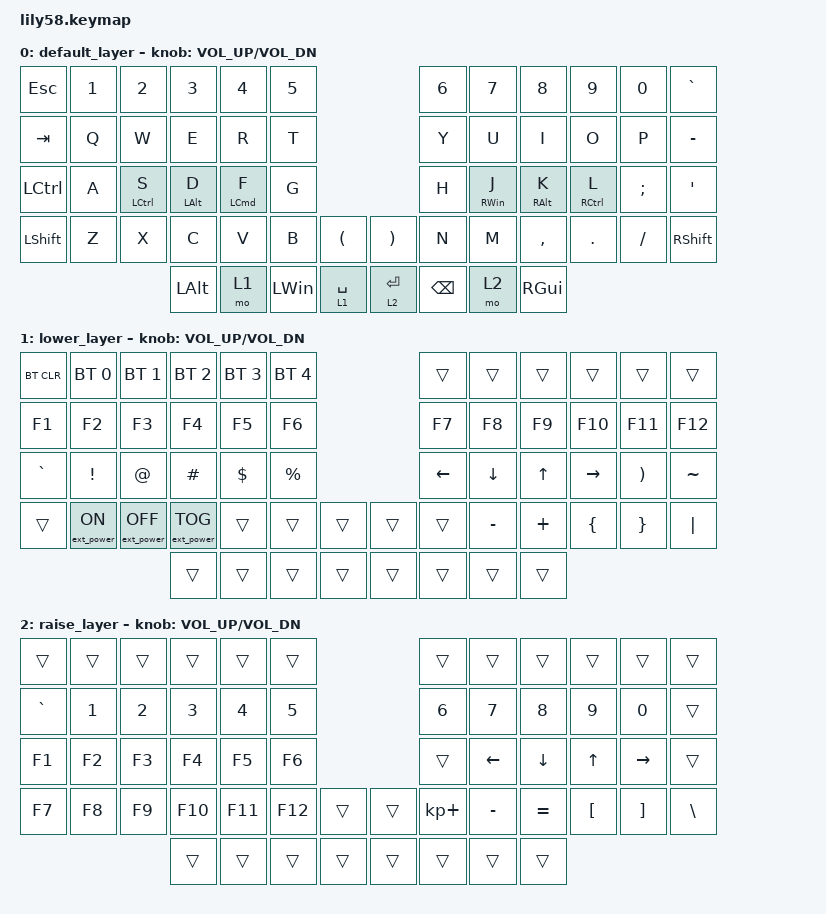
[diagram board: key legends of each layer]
/*
 * Copyright (c) 2020 The ZMK Contributors
 *
 * SPDX-License-Identifier: MIT
 */

#include <behaviors.dtsi>
#include <dt-bindings/zmk/bt.h>
#include <dt-bindings/zmk/ext_power.h>
#include <dt-bindings/zmk/keys.h>

/ {
    macros {
        change_layer: change_layer {
            compatible = "zmk,behavior-macro";
            #binding-cells = <0>;
            bindings = <&none>;
            label = "CHANGE_LAYER";
        };
    };

    keymap {
        compatible = "zmk,keymap";

        default_layer {
            // ------------------------------------------------------------------------------------------------------------
            // |  ESC  |  1  |  2  |  3   |  4   |  5   |                   |  6   |  7    |  8    |  9   |   0   |   `   |
            // |  TAB  |  Q  |  W  |  E   |  R   |  T   |                   |  Y   |  U    |  I    |  O   |   P   |   -   |
            // |  CTRL |  A  |  S  |  D   |  F   |  G   |                   |  H   |  J    |  K    |  L   |   ;   |   '   |
            // | SHIFT |  Z  |  X  |  C   |  V   |  B   |   "["  |  |  "]"  |  N   |  M    |  ,    |  .   |   /   | SHIFT |
            //                     | ALT  | GUI  | LOWER|  SPACE |  | ENTER | RAISE| BSPC  | GUI   |

            bindings = <
&kp ESC    &kp N1  &kp N2              &kp N3          &kp N4              &kp N5                                                       &kp N6         &kp N7           &kp N8           &kp N9               &kp N0    &kp GRAVE
&kp TAB    &kp Q   &kp W               &kp E           &kp R               &kp T                                                        &kp Y          &kp U            &kp I            &kp O                &kp P     &kp MINUS
&kp LCTRL  &kp A   &mt LEFT_CONTROL S  &mt LEFT_ALT D  &mt LEFT_COMMAND F  &kp G                                                        &kp H          &mt RIGHT_WIN J  &mt RIGHT_ALT K  &mt RIGHT_CONTROL L  &kp SEMI  &kp SQT
&kp LSHFT  &kp Z   &kp X               &kp C           &kp V               &kp B         &kp LEFT_PARENTHESIS    &kp RIGHT_PARENTHESIS  &kp N          &kp M            &kp COMMA        &kp DOT              &kp FSLH  &kp RSHFT
                                       &kp LALT        &mo 1               &kp LEFT_WIN  &lt 1 SPACE             &lt 2 ENTER            &kp BACKSPACE  &mo 2            &kp RGUI
            >;

            sensor-bindings = <&inc_dec_kp C_VOL_UP C_VOL_DN>;
        };

        lower_layer {
            // ------------------------------------------------------------------------------------------------------------
            // | BTCLR | BT1 | BT2 |  BT3 |  BT4 |  BT5 |                   |      |       |       |      |       |       |
            // |  F1   |  F2 |  F3 |  F4  |  F5  |  F6  |                   |  F7  |  F8   |  F9   |  F10 |  F11  |  F12  |
            // |   `   |  !  |  @  |  #   |  $   |  %   |                   |  ^   |  &    |  *    |  (   |   )   |   ~   |
            // |       |     |     |      |      |      |        |  |       |      |  _    |  +    |  {   |   }   |  "|"  |
            //                     |      |      |      |        |  |       |      |       |       |

            bindings = <
&bt BT_CLR  &bt BT_SEL 0      &bt BT_SEL 1       &bt BT_SEL 2       &bt BT_SEL 3  &bt BT_SEL 4                    &trans          &trans          &trans        &trans           &trans    &trans
&kp F1      &kp F2            &kp F3             &kp F4             &kp F5        &kp F6                          &kp F7          &kp F8          &kp F9        &kp F10          &kp F11   &kp F12
&kp GRAVE   &kp EXCL          &kp AT             &kp HASH           &kp DOLLAR    &kp PRCNT                       &kp LEFT_ARROW  &kp DOWN_ARROW  &kp UP_ARROW  &kp RIGHT_ARROW  &kp RPAR  &kp TILDE
&trans      &ext_power EP_ON  &ext_power EP_OFF  &ext_power EP_TOG  &trans        &trans        &trans    &trans  &trans          &kp MINUS       &kp PLUS      &kp LBRC         &kp RBRC  &kp PIPE
                                                 &trans             &trans        &trans        &trans    &trans  &trans          &trans          &trans
            >;

            sensor-bindings = <&inc_dec_kp C_VOL_UP C_VOL_DN>;
        };

        raise_layer {
            // ------------------------------------------------------------------------------------------------------------
            // |       |     |     |      |      |      |                   |      |       |       |      |       |       |
            // |   `   |  1  |  2  |  3   |  4   |  5   |                   |  6   |   7   |   8   |  9   |   0   |       |
            // |   F1  |  F2 |  F3 |  F4  |  F5  |  F6  |                   |      |   <-  |   v   |  ^   |  ->   |       |
            // |   F7  |  F8 |  F9 |  F10 |  F11 |  F12 |        |  |       |  +   |   -   |   =   |  [   |   ]   |   \   |
            //                     |      |      |      |        |  |       |      |       |       |

            bindings = <
&trans     &trans  &trans  &trans   &trans   &trans                     &trans       &trans     &trans     &trans    &trans     &trans
&kp GRAVE  &kp N1  &kp N2  &kp N3   &kp N4   &kp N5                     &kp N6       &kp N7     &kp N8     &kp N9    &kp N0     &trans
&kp F1     &kp F2  &kp F3  &kp F4   &kp F5   &kp F6                     &trans       &kp LEFT   &kp DOWN   &kp UP    &kp RIGHT  &trans
&kp F7     &kp F8  &kp F9  &kp F10  &kp F11  &kp F12  &trans    &trans  &kp KP_PLUS  &kp MINUS  &kp EQUAL  &kp LBKT  &kp RBKT   &kp BSLH
                           &trans   &trans   &trans   &trans    &trans  &trans       &trans     &trans
            >;

            sensor-bindings = <&inc_dec_kp C_VOL_UP C_VOL_DN>;
        };
    };
};
